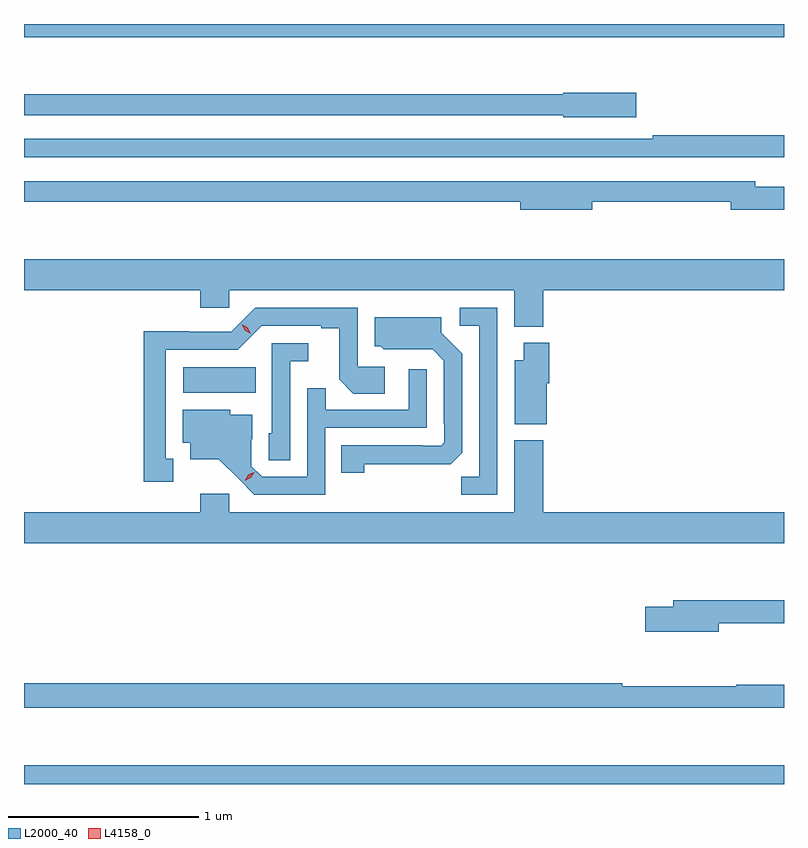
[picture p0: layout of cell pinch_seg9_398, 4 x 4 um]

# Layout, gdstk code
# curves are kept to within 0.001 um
import gdstk
lib = gdstk.Library(unit=1e-6, precision=1e-09)
def R(c, l, rs):  # rectangles x0, y0, x1, y1
    for r in rs: c.add(gdstk.rectangle(r[:2], r[2:], *l))
def P(c, l, *ps):  # polygons
    for p in ps: c.add(gdstk.Polygon(p, *l))
L2000_40 = (2000, 40)
L4158_0 = (4158, 0)

pinch_seg9_398 = lib.new_cell('pinch_seg9_398')
R(pinch_seg9_398, L2000_40, [(237.547,1213.801,241.547,1213.9), (238.386,1215.86,238.766,1215.994), (237.547,1217.732,241.547,1217.801)])
P(pinch_seg9_398, L2000_40, [(240.769,1217.439),(240.384,1217.439),(240.384,1217.431),(237.547,1217.431),(237.547,1217.322),(240.384,1217.322),(240.384,1217.309),(240.769,1217.309)],
  [(241.547,1217.216),(240.856,1217.216),(240.856,1217.196),(237.547,1217.196),(237.547,1217.1),(241.492,1217.1),(241.492,1217.099),(241.547,1217.099)],
  [(240.538,1216.866),(241.268,1216.866),(241.268,1216.823),(241.547,1216.823),(241.547,1216.945),(241.396,1216.945),(241.396,1216.974),(237.547,1216.974),(237.547,1216.866),(240.158,1216.866),(240.158,1216.823),(240.538,1216.823)],
  [(240.281,1216.4),(241.547,1216.4),(241.547,1216.564),(237.547,1216.564),(237.547,1216.4),(238.475,1216.4),(238.475,1216.307),(238.626,1216.307),(238.626,1216.4),(240.128,1216.4),(240.128,1216.208),(240.281,1216.208)],
  [(240.039,1216.308),(239.841,1216.308),(239.841,1216.212),(239.943,1216.212),(239.943,1215.419),(239.848,1215.419),(239.848,1215.324),(240.039,1215.324)],
  [(238.333,1215.513),(238.294,1215.513),(238.294,1216.086),(238.671,1216.086),(238.797,1216.212),(239.111,1216.212),(239.111,1216.2),(239.205,1216.2),(239.205,1215.932),(239.281,1215.856),(239.446,1215.856),(239.446,1215.996),(239.304,1215.996),(239.304,1216.308),(238.764,1216.308),(238.638,1216.182),(238.416,1216.182),(238.416,1216.184),(238.176,1216.184),(238.176,1215.393),(238.333,1215.393)],
  [(239.337,1215.484),(239.794,1215.485),(239.853,1215.544),(239.853,1216.066),(239.743,1216.176),(239.743,1216.258),(239.393,1216.258),(239.393,1216.104),(239.424,1216.104),(239.44,1216.088),(239.697,1216.089),(239.757,1216.029),(239.757,1215.7),(239.76,1215.7),(239.76,1215.6),(239.742,1215.582),(239.642,1215.582),(239.642,1215.585),(239.218,1215.585),(239.218,1215.438),(239.337,1215.438)],
  [(240.298,1215.909),(240.311,1215.909),(240.311,1216.123),(240.176,1216.123),(240.176,1216.03),(240.131,1216.03),(240.131,1215.695),(240.298,1215.695)],
  [(238.947,1216.025),(239.044,1216.025),(239.044,1216.122),(238.851,1216.122),(238.851,1215.648),(238.836,1215.648),(238.836,1215.505),(238.947,1215.505)],
  [(239.133,1215.675),(239.667,1215.675),(239.667,1215.985),(239.571,1215.985),(239.571,1215.771),(239.135,1215.771),(239.135,1215.884),(239.037,1215.884),(239.037,1215.417),(238.8,1215.417),(238.743,1215.474),(238.743,1215.616),(238.747,1215.616),(238.747,1215.745),(238.632,1215.745),(238.632,1215.772),(238.382,1215.772),(238.382,1215.596),(238.421,1215.596),(238.421,1215.509),(238.573,1215.509),(238.76,1215.324),(239.133,1215.324)],
  [(241.547,1215.232),(240.281,1215.232),(240.281,1215.61),(240.128,1215.61),(240.128,1215.232),(238.626,1215.232),(238.626,1215.328),(238.475,1215.328),(238.475,1215.232),(237.547,1215.232),(237.547,1215.068),(241.547,1215.068)],
  [(241.204,1214.646),(241.547,1214.646),(241.547,1214.767),(240.965,1214.767),(240.965,1214.733),(240.816,1214.733),(240.816,1214.603),(241.204,1214.603)],
  [(241.547,1214.323),(241.295,1214.323),(241.295,1214.315),(240.695,1214.315),(240.695,1214.33),(237.547,1214.33),(237.547,1214.202),(241.547,1214.202)])
P(pinch_seg9_398, L4158_0, [(238.709,1215.398),(238.709,1215.398),(238.727,1215.428),(238.757,1215.443),(238.758,1215.443),(238.758,1215.443),(238.74,1215.413),(238.71,1215.398)],
  [(238.741,1216.17),(238.709,1216.188),(238.692,1216.221),(238.692,1216.221),(238.692,1216.221),(238.724,1216.202),(238.741,1216.17),(238.741,1216.17)])

lib.write_gds('pinch_seg9_398.gds')
